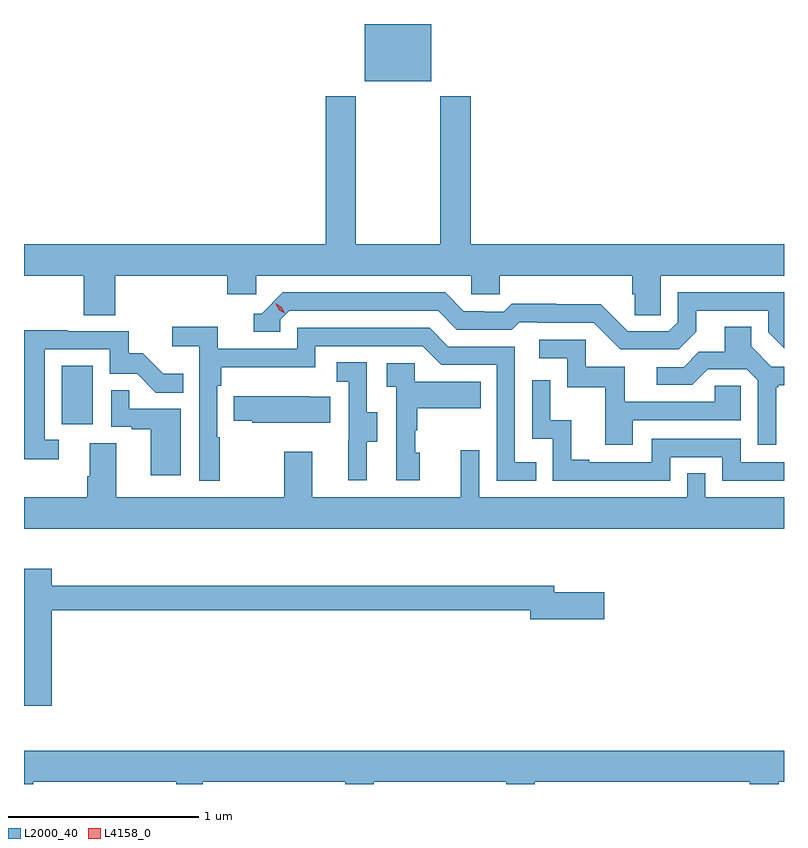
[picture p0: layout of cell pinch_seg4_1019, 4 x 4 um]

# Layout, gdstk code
import gdstk
lib = gdstk.Library(unit=1e-6, precision=1e-09)
def R(c, l, rs):  # rectangles x0, y0, x1, y1
    for r in rs: c.add(gdstk.rectangle(r[:2], r[2:], *l))
def P(c, l, *ps):  # polygons
    for p in ps: c.add(gdstk.Polygon(p, *l))
L2000_40 = (2000, 40)
L4158_0 = (4158, 0)

pinch_seg4_1019 = lib.new_cell('pinch_seg4_1019')
R(pinch_seg4_1019, L2000_40, [(808.232,756.078,808.396,756.385), (809.828,757.883,810.178,758.184)])
P(pinch_seg4_1019, L2000_40, [(808.514,756.86),(809.105,756.86),(809.105,756.762),(809.256,756.762),(809.256,756.86),(810.387,756.86),(810.387,756.762),(810.537,756.762),(810.537,756.86),(811.235,756.86),(811.235,756.762),(811.249,756.762),(811.249,756.652),(811.386,756.652),(811.386,756.86),(812.034,756.86),(812.034,757.024),(810.386,757.024),(810.386,757.804),(810.226,757.804),(810.226,757.024),(809.781,757.024),(809.781,757.804),(809.621,757.804),(809.621,757.024),(808.034,757.024),(808.034,756.86),(808.349,756.86),(808.349,756.652),(808.514,756.652)],
  [(811.573,756.565),(811.573,756.675),(811.95,756.675),(811.95,756.561),(812.034,756.477),(812.034,756.771),(811.476,756.771),(811.476,756.615),(811.428,756.567),(811.212,756.567),(811.07,756.709),(810.834,756.709),(810.834,756.712),(810.601,756.712),(810.559,756.669),(810.456,756.669),(810.456,756.672),(810.349,756.672),(810.25,756.771),(809.397,756.771),(809.286,756.66),(809.243,756.66),(809.243,756.564),(809.382,756.564),(809.382,756.627),(809.43,756.675),(810.213,756.675),(810.312,756.576),(810.601,756.576),(810.64,756.615),(810.739,756.615),(810.739,756.612),(811.032,756.612),(811.173,756.471),(811.479,756.471)],
  [(811.993,756.273),(812.005,756.273),(812.005,756.284),(812.034,756.284),(812.034,756.381),(811.968,756.381),(811.861,756.488),(811.861,756.59),(811.721,756.59),(811.721,756.458),(811.586,756.458),(811.506,756.378),(811.365,756.378),(811.365,756.285),(811.552,756.285),(811.633,756.366),(811.839,756.366),(811.896,756.309),(811.896,755.97),(811.993,755.97)],
  [(809.065,756.008),(809.052,756.008),(809.052,756.281),(809.072,756.281),(809.072,756.377),(809.568,756.377),(809.568,756.489),(810.132,756.489),(810.231,756.39),(810.522,756.39),(810.522,755.781),(810.731,755.781),(810.731,755.877),(810.618,755.877),(810.618,756.486),(810.268,756.486),(810.169,756.585),(809.472,756.585),(809.472,756.474),(809.054,756.474),(809.054,756.59),(808.815,756.59),(808.815,756.488),(808.956,756.488),(808.956,755.781),(809.065,755.781)],
  [(808.216,755.997),(808.143,755.997),(808.143,756.471),(808.485,756.471),(808.485,756.342),(808.629,756.342),(808.727,756.244),(808.871,756.244),(808.871,756.343),(808.767,756.343),(808.66,756.45),(808.584,756.45),(808.584,756.567),(808.265,756.567),(808.265,756.572),(808.034,756.572),(808.034,755.892),(808.216,755.892)],
  [(811.237,756.099),(811.806,756.099),(811.806,756.279),(811.669,756.279),(811.669,756.195),(811.195,756.195),(811.195,756.381),(810.99,756.381),(810.99,756.522),(810.747,756.522),(810.747,756.426),(810.894,756.426),(810.894,756.273),(811.093,756.273),(811.093,755.97),(811.237,755.97)],
  [(809.839,755.986),(809.893,755.986),(809.893,756.141),(809.838,756.141),(809.838,756.404),(809.679,756.404),(809.679,756.301),(809.742,756.301),(809.742,755.997),(809.741,755.997),(809.741,755.784),(809.839,755.784)],
  [(810.118,755.928),(810.093,755.928),(810.093,756.047),(810.103,756.047),(810.103,756.161),(810.437,756.161),(810.437,756.301),(810.09,756.301),(810.09,756.399),(809.943,756.399),(809.943,756.275),(809.994,756.275),(809.994,755.784),(810.118,755.784)],
  [(811.434,755.904),(811.71,755.904),(811.71,755.781),(812.034,755.781),(812.034,755.877),(811.806,755.877),(811.806,756),(811.338,756),(811.338,755.877),(811.009,755.877),(811.009,755.89),(810.914,755.89),(810.914,756.098),(810.804,756.098),(810.804,756.31),(810.708,756.31),(810.708,756),(810.816,756),(810.816,755.781),(811.434,755.781)],
  [(808.858,756.159),(808.589,756.159),(808.589,756.257),(808.494,756.257),(808.494,756.063),(808.601,756.063),(808.601,756.051),(808.7,756.051),(808.7,755.808),(808.858,755.808)],
  [(809.645,756.223),(809.537,756.223),(809.537,756.226),(809.137,756.226),(809.137,756.097),(809.235,756.097),(809.235,756.086),(809.645,756.086)],
  [(812.034,755.692),(811.62,755.692),(811.62,755.819),(811.524,755.819),(811.524,755.692),(810.429,755.692),(810.429,755.941),(810.332,755.941),(810.332,755.692),(809.551,755.692),(809.551,755.932),(809.404,755.932),(809.404,755.692),(808.519,755.692),(808.519,755.978),(808.379,755.978),(808.379,755.804),(808.367,755.804),(808.367,755.692),(808.034,755.692),(808.034,755.528),(812.034,755.528)],
  [(808.18,755.098),(810.698,755.098),(810.698,755.051),(811.087,755.051),(811.087,755.193),(810.826,755.193),(810.826,755.227),(808.18,755.227),(808.18,755.317),(808.034,755.317),(808.034,754.596),(808.18,754.596)],
  [(808.083,754.196),(808.835,754.196),(808.835,754.184),(808.974,754.184),(808.974,754.196),(809.724,754.196),(809.724,754.184),(809.876,754.184),(809.876,754.196),(810.573,754.196),(810.573,754.184),(810.723,754.184),(810.723,754.196),(811.854,754.196),(811.854,754.184),(812.006,754.184),(812.006,754.196),(812.034,754.196),(812.034,754.36),(808.034,754.36),(808.034,754.184),(808.083,754.184)])
P(pinch_seg4_1019, L4158_0, [(809.407,756.661),(809.375,756.68),(809.358,756.713),(809.358,756.713),(809.359,756.713),(809.39,756.694),(809.407,756.662),(809.407,756.661)])

lib.write_gds('pinch_seg4_1019.gds')
